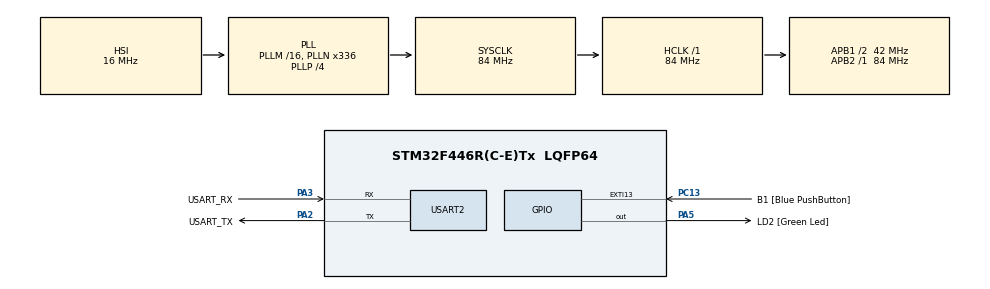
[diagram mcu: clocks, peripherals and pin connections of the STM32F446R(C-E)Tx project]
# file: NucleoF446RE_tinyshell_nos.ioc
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Dma.Request0=USART2_RX
Dma.USART2_RX.0.Direction=DMA_PERIPH_TO_MEMORY
Dma.USART2_RX.0.FIFOMode=DMA_FIFOMODE_DISABLE
Dma.USART2_RX.0.Instance=DMA1_Stream5
Dma.USART2_RX.0.MemDataAlignment=DMA_MDATAALIGN_BYTE
Dma.USART2_RX.0.MemInc=DMA_MINC_ENABLE
Dma.USART2_RX.0.Mode=DMA_NORMAL
Dma.USART2_RX.0.PeriphDataAlignment=DMA_PDATAALIGN_BYTE
Dma.USART2_RX.0.PeriphInc=DMA_PINC_DISABLE
Dma.USART2_RX.0.Priority=DMA_PRIORITY_MEDIUM
Mcu.Family=STM32F4
Mcu.Name=STM32F446R(C-E)Tx
Mcu.Package=LQFP64
NVIC.DMA1_Stream5_IRQn=true\:0\:0\:false\:false\:true\:false\:true
NVIC.PriorityGroup=NVIC_PRIORITYGROUP_0
NVIC.TIM6_DAC_IRQn=true\:0\:0\:false\:false\:true\:false\:true
NVIC.TimeBase=TIM6_DAC_IRQn
NVIC.TimeBaseIP=TIM6
NVIC.USART2_IRQn=true\:0\:0\:false\:false\:true\:true\:true
PA13.GPIO_Label=TMS
PA13.Mode=Serial_Wire
PA13.Signal=SYS_JTMS-SWDIO
PA14.GPIO_Label=TCK
PA14.Mode=Serial_Wire
PA14.Signal=SYS_JTCK-SWCLK
PA2.GPIO_Label=USART_TX
PA2.Mode=Asynchronous
PA2.Signal=USART2_TX
PA3.GPIO_Label=USART_RX
PA3.Mode=Asynchronous
PA3.Signal=USART2_RX
PA5.GPIO_Label=LD2 [Green Led]
PA5.Signal=GPIO_Output
PB3.GPIO_Label=SWO
PB3.Signal=SYS_JTDO-SWO
PC13.GPIO_Label=B1 [Blue PushButton]
PC13.GPIO_ModeDefaultEXTI=GPIO_MODE_IT_FALLING
PC13.Signal=GPXTI13
PC14-OSC32_IN.Signal=RCC_OSC32_IN
PC15-OSC32_OUT.Signal=RCC_OSC32_OUT
PH0-OSC_IN.Signal=RCC_OSC_IN
PH1-OSC_OUT.Signal=RCC_OSC_OUT
ProjectManager.HeapSize=0x200
ProjectManager.StackSize=0x400
ProjectManager.TargetToolchain=STM32CubeIDE
RCC.48MHZClocksFreq_Value=84000000
RCC.AHBFreq_Value=84000000
RCC.APB1CLKDivider=RCC_HCLK_DIV2
RCC.APB1Freq_Value=42000000
RCC.APB1TimFreq_Value=84000000
RCC.APB2Freq_Value=84000000
RCC.APB2TimFreq_Value=84000000
RCC.CortexFreq_Value=84000000
RCC.FLatency-AdvancedSettings=FLASH_LATENCY_2
RCC.HCLKFreq_Value=84000000
RCC.HSE_VALUE=8000000
RCC.HSI_VALUE=16000000
RCC.PLLN=336
RCC.PLLP=RCC_PLLP_DIV4
RCC.SYSCLKFreq_VALUE=84000000
RCC.SYSCLKSource=RCC_SYSCLKSOURCE_PLLCLK
RCC.USBFreq_Value=168000000
RCC.VCOOutputFreq_Value=336000000
USART2.VirtualMode=VM_ASYNC
VP_SYS_VS_tim6.Mode=TIM6
board=NUCLEO-F446RE

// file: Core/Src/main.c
/* USER CODE BEGIN Header */
/**
  ******************************************************************************
  * @file           : main.c
  * @brief          : Main program body
  ******************************************************************************
  * @attention
  *
  * <h2><center>&copy; Copyright (c) 2020 STMicroelectronics.
  * All rights reserved.</center></h2>
  *
  * This software component is licensed by ST under BSD 3-Clause license,
  * the "License"; You may not use this file except in compliance with the
  * License. You may obtain a copy of the License at:
  *                        opensource.org/licenses/BSD-3-Clause
  *
  ******************************************************************************
  */
/* USER CODE END Header */
#include "main.h"

/* USER CODE BEGIN Includes */
#include "tinyshell.h"
#include <stdbool.h>

/* USER CODE END Includes */

/* USER CODE BEGIN PM */
#define DEBUG_BREAK		__asm("BKPT #0");

/* USER CODE END PM */

UART_HandleTypeDef huart2;
DMA_HandleTypeDef hdma_usart2_rx;

/* USER CODE BEGIN PV */
__IO bool charAvailable = false;
__IO char rxByte;

/* USER CODE END PV */

void SystemClock_Config(void);
static void MX_GPIO_Init(void);
static void MX_DMA_Init(void);
static void MX_USART2_UART_Init(void);
/* USER CODE BEGIN PFP */
int console_putc(char c);
char console_getc(void);
#if (0)
void console_puts(char *s);
void console_put_line(char *s);
int console_gets(char *s, int len);
#endif
/* USER CODE END PFP */

/* USER CODE BEGIN 0 */
/*
 * Transmit a single char to UART in polling mode
 * Arg0: Char to transmit
 * Return: Success: 1, None or fail :0
 */
int console_putc(char c)
{
  /**> If UART TX Buffer is empty, transmit char to UART TX Buffer */
	if (HAL_UART_Transmit(&huart2, (uint8_t *)&c, 1, HAL_MAX_DELAY) == HAL_OK)
	{
		return 1;
	}
	else
		return 0;
}

/*
 * Receive a single char from UART through DMA
 * Arg0: None
 * Return: Received byte into UART data register
 */
char console_getc(void)
{
  return (char)USART2->DR;
}

#if (0)
/*
 * Transmit a string to USART in polling mode
 * Arg0: Array of char
 * Return: None
 */
void console_puts(char *s)
{
  while (*s != '\0')
  {
    if (*s == '\r')
    {
      console_putc('\n');
    }
    else
    {
      console_putc(*s);
    }
    s++;
  }
}

/*
 * Transmit a string and new line to USART in polling mode
 * Arg0: Array of char
 * Return: None
 */
void console_put_line(char *s)
{
  console_puts(s);
  console_puts("\n");
}

/*
 * Receive a string with a know size from USART1 in polling mode
 * Arg0: Received char array
 * Arg1: Maximum lenght of array
 * Return: Total lenght of string
 */
int console_gets(char *s, int len)
{
  char *t = s;
  char c;

  *t = '\000';
  /**> read until <LF> is received */
  while ((c = console_getc()) != '\n')
  {
    *t = c;
    console_putc(c);
    if ((t - s) < len)
    {
      t++;
    }
    /**> Update end of string with NULL */
    *t = '\000';
  }
  return t - s;
}
#endif

/* USER CODE END 0 */

int main(void)
{
  /* USER CODE BEGIN 1 */
	char c;

  /* USER CODE END 1 */

  /* MCU Configuration--------------------------------------------------------*/

  /* Reset of all peripherals, Initializes the Flash interface and the Systick. */
  HAL_Init();

  /* Configure the system clock */
  SystemClock_Config();

  /* Initialize all configured peripherals */
  MX_GPIO_Init();
  MX_DMA_Init();
  MX_USART2_UART_Init();
  /* USER CODE BEGIN 2 */

  /**> Configure shell */
  sShellImpl shell_impl = {
  		.send_char = console_putc,
  };
  /**> Start shell */
  shell_boot(&shell_impl);

  /**> Start USART Receive in non blocking Mode one byte at a time */
	HAL_UART_Receive_DMA(&huart2, (uint8_t *)&rxByte, 1);

  /* USER CODE END 2 */

  /* Infinite loop */
  /* USER CODE BEGIN WHILE */
  while (1)
  {
    /**> Invoke TinyShell each received byte */
  	if (charAvailable == true)
  	{
  		/**> Always run Tiny Shell */
  		c = console_getc();
  		shell_receive_char(c);
  		charAvailable = false;
  	}

    /* USER CODE END WHILE */

  }
}

void SystemClock_Config(void)
{
  RCC_OscInitTypeDef RCC_OscInitStruct = {0};
  RCC_ClkInitTypeDef RCC_ClkInitStruct = {0};

  /** Configure the main internal regulator output voltage
  */
  __HAL_RCC_PWR_CLK_ENABLE();
  __HAL_PWR_VOLTAGESCALING_CONFIG(PWR_REGULATOR_VOLTAGE_SCALE3);
  /** Initializes the RCC Oscillators according to the specified parameters
  * in the RCC_OscInitTypeDef structure.
  */
  RCC_OscInitStruct.OscillatorType = RCC_OSCILLATORTYPE_HSI;
  RCC_OscInitStruct.HSIState = RCC_HSI_ON;
  RCC_OscInitStruct.HSICalibrationValue = RCC_HSICALIBRATION_DEFAULT;
  RCC_OscInitStruct.PLL.PLLState = RCC_PLL_ON;
  RCC_OscInitStruct.PLL.PLLSource = RCC_PLLSOURCE_HSI;
  RCC_OscInitStruct.PLL.PLLM = 16;
  RCC_OscInitStruct.PLL.PLLN = 336;
  RCC_OscInitStruct.PLL.PLLP = RCC_PLLP_DIV4;
  RCC_OscInitStruct.PLL.PLLQ = 2;
  RCC_OscInitStruct.PLL.PLLR = 2;
  if (HAL_RCC_OscConfig(&RCC_OscInitStruct) != HAL_OK)
  {
    Error_Handler();
  }
  /** Initializes the CPU, AHB and APB buses clocks
  */
  RCC_ClkInitStruct.ClockType = RCC_CLOCKTYPE_HCLK|RCC_CLOCKTYPE_SYSCLK
                              |RCC_CLOCKTYPE_PCLK1|RCC_CLOCKTYPE_PCLK2;
  RCC_ClkInitStruct.SYSCLKSource = RCC_SYSCLKSOURCE_PLLCLK;
  RCC_ClkInitStruct.AHBCLKDivider = RCC_SYSCLK_DIV1;
  RCC_ClkInitStruct.APB1CLKDivider = RCC_HCLK_DIV2;
  RCC_ClkInitStruct.APB2CLKDivider = RCC_HCLK_DIV1;

  if (HAL_RCC_ClockConfig(&RCC_ClkInitStruct, FLASH_LATENCY_2) != HAL_OK)
  {
    Error_Handler();
  }
}

static void MX_USART2_UART_Init(void)
{

  huart2.Instance = USART2;
  huart2.Init.BaudRate = 115200;
  huart2.Init.WordLength = UART_WORDLENGTH_8B;
  huart2.Init.StopBits = UART_STOPBITS_1;
  huart2.Init.Parity = UART_PARITY_NONE;
  huart2.Init.Mode = UART_MODE_TX_RX;
  huart2.Init.HwFlowCtl = UART_HWCONTROL_NONE;
  huart2.Init.OverSampling = UART_OVERSAMPLING_16;
  if (HAL_UART_Init(&huart2) != HAL_OK)
  {
    Error_Handler();
  }

}

static void MX_DMA_Init(void)
{

  /* DMA controller clock enable */
  __HAL_RCC_DMA1_CLK_ENABLE();

  /* DMA interrupt init */
  /* DMA1_Stream5_IRQn interrupt configuration */
  HAL_NVIC_SetPriority(DMA1_Stream5_IRQn, 0, 0);
  HAL_NVIC_EnableIRQ(DMA1_Stream5_IRQn);

}

static void MX_GPIO_Init(void)
{
  GPIO_InitTypeDef GPIO_InitStruct = {0};

  /* GPIO Ports Clock Enable */
  __HAL_RCC_GPIOC_CLK_ENABLE();
  __HAL_RCC_GPIOH_CLK_ENABLE();
  __HAL_RCC_GPIOA_CLK_ENABLE();
  __HAL_RCC_GPIOB_CLK_ENABLE();

  /*Configure GPIO pin Output Level */
  HAL_GPIO_WritePin(LD2_GPIO_Port, LD2_Pin, GPIO_PIN_RESET);

  /*Configure GPIO pin : B1_Pin */
  GPIO_InitStruct.Pin = B1_Pin;
  GPIO_InitStruct.Mode = GPIO_MODE_IT_FALLING;
  GPIO_InitStruct.Pull = GPIO_NOPULL;
  HAL_GPIO_Init(B1_GPIO_Port, &GPIO_InitStruct);

  /*Configure GPIO pin : LD2_Pin */
  GPIO_InitStruct.Pin = LD2_Pin;
  GPIO_InitStruct.Mode = GPIO_MODE_OUTPUT_PP;
  GPIO_InitStruct.Pull = GPIO_NOPULL;
  GPIO_InitStruct.Speed = GPIO_SPEED_FREQ_LOW;
  HAL_GPIO_Init(LD2_GPIO_Port, &GPIO_InitStruct);

}

/* USER CODE BEGIN 4 */
/**
  * @brief  Rx Transfer completed callbacks.
  * @param  huart  Pointer to a UART_HandleTypeDef structure that contains
  *                the configuration information for the specified UART module.
  * @retval None
  */
void HAL_UART_RxCpltCallback(UART_HandleTypeDef *huart)
{
	if (huart->Instance == USART2)
	{
		charAvailable = true;
		/**> Restart USART Receive in non blocking Mode */
		HAL_UART_Receive_DMA(&huart2, (uint8_t *)&rxByte, 1);
	}
}

/* USER CODE END 4 */

 /**
  * @brief  Period elapsed callback in non blocking mode
  * @note   This function is called  when TIM6 interrupt took place, inside
  * HAL_TIM_IRQHandler(). It makes a direct call to HAL_IncTick() to increment
  * a global variable "uwTick" used as application time base.
  * @param  htim : TIM handle
  * @retval None
  */
void HAL_TIM_PeriodElapsedCallback(TIM_HandleTypeDef *htim)
{
  if (htim->Instance == TIM6) {
    HAL_IncTick();
  }
}

void Error_Handler(void)
{
  __disable_irq();
  while (1)
  {
  }
}

/************************ (C) COPYRIGHT STMicroelectronics *****END OF FILE****/
